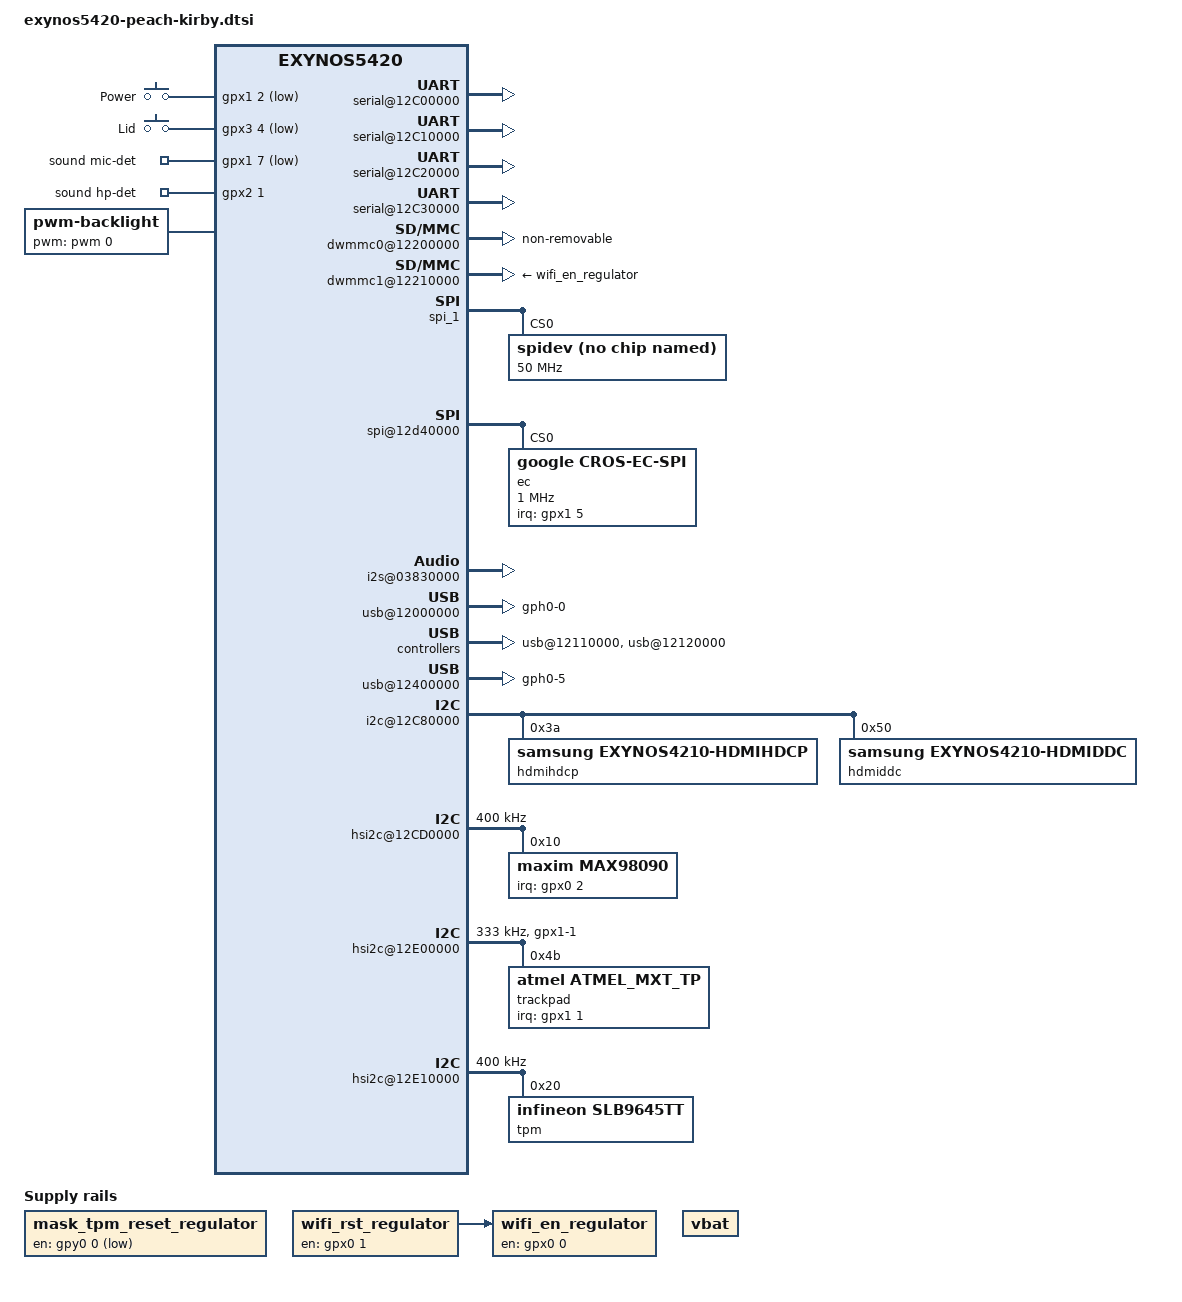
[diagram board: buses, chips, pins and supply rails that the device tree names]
/*
 * Common device tree include for all Peach Pit board revisions
 *
 * Copyright (c) 2013 Google, Inc
 *
 * This program is free software; you can redistribute it and/or modify
 * it under the terms of the GNU General Public License version 2 as
 * published by the Free Software Foundation.
 */

/ {
	aliases {
		i2c20 = &i2c_20;
	};

	chosen {
		bootargs = "";
	};

	firmware {
		chromeos {
			write-protect-gpio = <&gpx3 0 1>;

			pinctrl-names = "default";
			pinctrl-0 = <&wp_gpio>;

			nonvolatile-context-storage = "mkbp";
			chromeos-vbc-ec = <&ec>;
		};
	};

	fixed-rate-clocks {
		xxti {
			compatible = "samsung,clock-xxti";
			clock-frequency = <24000000>;
		};
	};

	pinctrl@13400000 {
		dp_hpd: dp-hpd {
			samsung,pins = "gpx2-6";
			samsung,pin-function = <0>;
			samsung,pin-pud = <3>;
			samsung,pin-drv = <0>;
		};

		ec_irq: ec-irq {
			samsung,pins = "gpx1-5";
			samsung,pin-function = <0>;
			samsung,pin-pud = <0>;
			samsung,pin-drv = <0>;
		};

		hp_det_gpio: hp-det-gpio {
			samsung,pins = "gpx2-1";
			samsung,pin-function = <0>;
			samsung,pin-pud = <0>;
			samsung,pin-drv = <0>;
		};

		hsic_reset: hsic-reset {
			samsung,pins = "gpx2-4";
			samsung,pin-function = <1>;
			samsung,pin-pud = <0>;
			samsung,pin-drv = <0>;
		};

		lid_irq: lid-irq {
			samsung,pins = "gpx3-4";
			samsung,pin-function = <0>;
			samsung,pin-pud = <0>;
			samsung,pin-drv = <0>;
		};

		max77802_irq: max77802-irq {
			samsung,pins = "gpx3-1";
			samsung,pin-function = <0>;
			samsung,pin-pud = <0>;
			samsung,pin-drv = <0>;
		};

		max98090_irq: max98090-irq {
			samsung,pins = "gpx0-2";
			samsung,pin-function = <0>;
			samsung,pin-pud = <0>;
			samsung,pin-drv = <0>;
		};

		mic_det_gpio: mic-det-gpio {
			samsung,pins = "gpx1-7";
			samsung,pin-function = <0>;
			samsung,pin-pud = <0>;
			samsung,pin-drv = <0>;
		};

		power_key_irq: power-key-irq {
			samsung,pins = "gpx1-2";
			samsung,pin-function = <0>;
			samsung,pin-pud = <0>;
			samsung,pin-drv = <0>;
		};

		ps8622_reset: ps8622-reset {
			samsung,pins = "gpy7-7";
			samsung,pin-function = <1>;
			samsung,pin-pud = <0>;
			samsung,pin-drv = <0>;
		};

		ps8622_sleep: ps8622-sleep {
			samsung,pins = "gpx3-5";
			samsung,pin-function = <1>;
			samsung,pin-pud = <0>;
			samsung,pin-drv = <0>;
		};

		tpm_irq: tpm-irq {
			samsung,pins = "gpx1-0";
			samsung,pin-function = <0>;
			samsung,pin-pud = <0>;
			samsung,pin-drv = <0>;
		};

		bq24192_irq: bq24192-irq {
			samsung,pins = "gpx2-5";
			samsung,pin-function = <0>;
			samsung,pin-pud = <0>;
			samsung,pin-drv = <0>;
		};

		trackpad_irq: trackpad-irq {
			samsung,pins = "gpx1-1";
			samsung,pin-function = <0>;
			samsung,pin-pud = <0>;
			samsung,pin-drv = <0>;
		};

		wifi_en: wifi-en {
			samsung,pins = "gpx0-0";
			samsung,pin-function = <1>;
			samsung,pin-pud = <0>;
			samsung,pin-drv = <0>;
		};

		wifi_rst: wifi-rst {
			samsung,pins = "gpx0-1";
			samsung,pin-function = <1>;
			samsung,pin-pud = <0>;
			samsung,pin-drv = <0>;
		};

		wp_gpio: wp-gpio {
			samsung,pins = "gpx3-0";
			samsung,pin-function = <0>;
			samsung,pin-pud = <0>;
			samsung,pin-drv = <0>;
		};
	};

	pinctrl@13410000 {
		/* Adjust WiFi drive strengths lower for EMI */
		sd1_clk: sd1-clk {
			samsung,pin-drv = <0>;
		};
		sd1_cmd: sd1-cmd {
			samsung,pin-drv = <0>;
		};
		sd1_bus4: sd1-bus-width4 {
			samsung,pin-drv = <0>;
		};
		sd1_bus8: sd1-bus-width8 {
			samsung,pin-drv = <0>;
		};

		mask_tpm_reset: mask-tpm-reset {
			samsung,pins = "gpy0-0";
			samsung,pin-function = <1>;
			samsung,pin-pud = <0>;
			samsung,pin-drv = <0>;
		};
	};

	pinctrl@14010000 {
		ec_spi_cs: ec-spi-cs {
			samsung,pins = "gpb1-2";
			samsung,pin-function = <1>;
			samsung,pin-pud = <0>;
			samsung,pin-drv = <3>;
		};

		spi_flash_cs: spi-flash-cs {
			samsung,pins = "gpa2-5";
			samsung,pin-function = <1>;
			samsung,pin-pud = <0>;
			samsung,pin-drv = <3>;
		};

		usb3_vbus0_en: usb30vbus0-en {
			samsung,pins = "gph0-0";
			samsung,pin-function = <1>;
			samsung,pin-pud = <0>;
			samsung,pin-drv = <0>;
		};

		usb3_vbus1_en: usb30vbus1-en {
			samsung,pins = "gph0-5";
			samsung,pin-function = <1>;
			samsung,pin-pud = <0>;
			samsung,pin-drv = <0>;
		};

		backlight_pwm: backlight-pwm {
			samsung,pins = "gpb2-0";
			samsung,pin-function = <2>;
			samsung,pin-pud = <0>;
			samsung,pin-drv = <0>;
		};
	};

	gpio-keys {
		compatible = "gpio-keys";

		pinctrl-names = "default";
		pinctrl-0 = <&power_key_irq &lid_irq>;

		power {
			label = "Power";
			gpios = <&gpx1 2 1>;
			linux,code = <116>; /* KEY_POWER */
			gpio-key,wakeup;
		};

		lid-switch {
			label = "Lid";
			gpios = <&gpx3 4 1>;
			linux,input-type = <5>; /* EV_SW */
			linux,code = <0>; /* SW_LID */
			debounce-interval = <1>;
			gpio-key,wakeup;
		};
	};

	ramoops {
		compatible = "ramoops";
		reg = <0x41f00000 0x00100000>;
		record-size = <0x00020000>;
		dump-oops;
	};

	watchdog {
		status = "okay";
	};

	rtc {
		status = "okay";
	};

	/* TODO: Should only enable UART3? */
	serial@12C00000 {
		status = "okay";
	};

	serial@12C10000 {
		status = "okay";
	};

	serial@12C20000 {
		status = "okay";
	};

	serial@12C30000 {
		status = "okay";
	};

	dwmmc0@12200000 {
		status = "okay";
		num-slots = <1>;
		broken-cd;
		bypass-smu;
		supports-highspeed;	/* >= 25MHz */
		supports-hs200-mode;	/* 200MHz */
		non-removable;
		fifo-depth = <0x40>;
		card-detect-delay = <200>;
		samsung,dw-mshc-ciu-div = <3>;
		samsung,dw-mshc-sdr-timing = <0 4>;
		samsung,dw-mshc-ddr-timing = <0 2>;
		pinctrl-names = "default";
		pinctrl-0 = <&sd0_clk &sd0_cmd &sd0_bus4 &sd0_bus8>;
		slot@0 {
			reg = <0>;
			bus-width = <8>;
		};
	};

	dwmmc1@12210000 {
		/*
		 * The current best way to ensure that reset/enable and clocks
		 * are available before we try to probe the WiFi card is through
		 * a chain of regulators.
		 */
		vmmc-supply = <&wifi_en_regulator>;

		status = "okay";
		num-slots = <1>;
		supports-highspeed;
		keep-power-in-suspend;
		/* not-removable NOT set so mwifiex driver can use reset trick */
		broken-cd;
		bypass-smu;
		fifo-depth = <0x40>;
		card-detect-delay = <200>;
		clock-frequency = <400000000>;
		samsung,dw-mshc-ciu-div = <3>;
		samsung,dw-mshc-sdr-timing = <4 4>;
		samsung,dw-mshc-ddr-timing = <0 2>;
		pinctrl-names = "default";
		pinctrl-0 = <&sd1_clk &sd1_cmd &sd1_int &sd1_bus4 &sd1_bus8>;
		slot@0 {
			reg = <0>;
			bus-width = <4>;
		};
	};

	/* TODO: Add fimd, display port, etc */

	spi_1: spi@12d30000 {
		status = "okay";
		samsung,spi-src-clk = <0>;
		num-cs = <1>;

		spidev@0 {
			compatible = "spidev";
			reg = <0>;
			spi-max-frequency = <50000000>;
			pinctrl-names = "default";
			pinctrl-0 = <&spi_flash_cs>;

			controller-data {
				cs-gpio = <&gpa2 5 0>;
				samsung,spi-feedback-delay = <2>;
			};
		};
	};

	/* spi_2 */
	spi@12d40000 {
		status = "okay";
		samsung,spi-src-clk = <0>;
		num-cs = <1>;
		ec: cros-ec@0 {
			compatible = "google,cros-ec-spi";

			/* TODO: Run faster than 1MHz */
			spi-max-frequency = <1000000>;

			pinctrl-names = "default";
			pinctrl-0 = <&ec_spi_cs &ec_irq>;

			reg = <0>;
			interrupts = <5 0>;
			interrupt-parent = <&gpx1>;

			controller-data {
				cs-gpio = <&gpb1 2 0>;

				/* TODO: feedback delay should be 2?*/
				samsung,spi-feedback-delay = <0>;
			};

			/* Arbitrarily assign bus 20 since past exynos range */
			i2c_20: i2c-tunnel {
				compatible = "google,cros-ec-i2c-tunnel";
				#address-cells = <1>;
				#size-cells = <0>;

				google,remote-bus = <0>;
			};

			keyboard-controller {
				compatible = "google,cros-ec-keyb";
				keypad,num-rows = <8>;
				keypad,num-columns = <13>;
				google,needs-ghost-filter;
				linux,keymap = <0x0001007d	/* L_META */
						0x0002003b	/* F1 */
						0x00030030	/* B */
						0x00040044	/* F10 */
						0x00060031	/* N */
						0x0008000d	/* = */
						0x000a0064	/* R_ALT */

						0x01010001	/* ESC */
						0x0102003e	/* F4 */
						0x01030022	/* G */
						0x01040041	/* F7 */
						0x01060023	/* H */
						0x01080028	/* ' */
						0x01090043	/* F9 */
						0x010b000e	/* BKSPACE */

						0x0200001d	/* L_CTRL */
						0x0201000f	/* TAB */
						0x0202003d	/* F3 */
						0x02030014	/* T */
						0x02040040	/* F6 */
						0x0205001b	/* ] */
						0x02060015	/* Y */
						0x02070056	/* 102ND */
						0x0208001a	/* [ */
						0x02090042	/* F8 */

						0x03010029	/* GRAVE */
						0x0302003c	/* F2 */
						0x03030006	/* 5 */
						0x0304003f	/* F5 */
						0x03060007	/* 6 */
						0x0308000c	/* - */
						0x030b002b	/* \ */

						0x04000061	/* R_CTRL */
						0x0401001e	/* A */
						0x04020020	/* D */
						0x04030021	/* F */
						0x0404001f	/* S */
						0x04050025	/* K */
						0x04060024	/* J */
						0x04080027	/* ; */
						0x04090026	/* L */
						0x040b001c	/* ENTER */

						0x0501002c	/* Z */
						0x0502002e	/* C */
						0x0503002f	/* V */
						0x0504002d	/* X */
						0x05050033	/* , */
						0x05060032	/* M */
						0x0507002a	/* L_SHIFT */
						0x05080035	/* / */
						0x05090034	/* . */
						0x050B0039	/* SPACE */

						0x06010002	/* 1 */
						0x06020004	/* 3 */
						0x06030005	/* 4 */
						0x06040003	/* 2 */
						0x06050009	/* 8 */
						0x06060008	/* 7 */
						0x0608000b	/* 0 */
						0x0609000a	/* 9 */
						0x060a0038	/* L_ALT */
						0x060b006c	/* DOWN */
						0x060c006a	/* RIGHT */

						0x07010010	/* Q */
						0x07020012	/* E */
						0x07030013	/* R */
						0x07040011	/* W */
						0x07050017	/* I */
						0x07060016	/* U */
						0x07070036	/* R_SHIFT */
						0x07080019	/* P */
						0x07090018	/* O */
						0x070b0067	/* UP */
						0x070c0069>;	/* LEFT */
			};
		};
	};

	/* i2s_0 */
	i2s@03830000 {
		status = "okay";
	};

	/* dw usb3_0 */
	usb@12000000 {
		status = "okay";
		samsung,vbus-gpio = <&gph0 0 0>;
		pinctrl-names = "default";
		pinctrl-0 = <&usb3_vbus0_en>;
	};

	/* ehci */
	usb@12110000 {
		status = "okay";
	};

	/* ohci */
	usb@12120000 {
		status = "okay";
	};

	/* dw usb3_1 */
	usb@12400000 {
		status = "okay";
		samsung,vbus-gpio = <&gph0 5 0>;
		pinctrl-names = "default";
		pinctrl-0 = <&usb3_vbus1_en>;
	};

	usb3_phy0: usbphy@12100000 {
		samsung,txpreempamptune = <0x1>;
	};

	usb3_phy1: usbphy@12500000 {
		samsung,txpreempamptune = <0x1>;
	};

	/* i2c2 */
	i2c@12C80000 {
		status = "okay";
		samsung,i2c-sda-delay = <100>;
		samsung,i2c-max-bus-freq = <66000>;

		hdmihdcp@3a {
			compatible = "samsung,exynos4210-hdmihdcp";
			reg = <0x3a>;
		};

		hdmiddc@50 {
			compatible = "samsung,exynos4210-hdmiddc";
			reg = <0x50>;
		};
	};

	/* hsi2c7 */
	hsi2c@12CD0000 {
		status = "okay";
		clock-frequency = <400000>;

		max98090: codec@10 {
			compatible = "maxim,max98090";
			reg = <0x10>;
			interrupts = <2 0>;
			interrupt-parent = <&gpx0>;
			mic-left-digital;
			mic-right-digital;
			mclk-pin = <2>;
			pinctrl-names = "default";
			pinctrl-0 = <&max98090_irq>;
		};
	};

	/* hsi2c8 */
	hsi2c@12E00000 {
		status = "okay";
		clock-frequency = <333000>;

		/*
		 * TODO: for now config the IRQ at the i2c level since
		 * pinctrl can't handle sharing it between two children, even
		 * if one fails to probe.
		 * See crosbug.com/p/20329
		 */
		pinctrl-names = "default";
		pinctrl-0 = <&i2c8_hs_bus &trackpad_irq>;

		/* Only one of the following trackpads should be probed */
		trackpad@4b {
			reg = <0x4b>;
			compatible = "atmel,atmel_mxt_tp";
			interrupts = <1 0>;
			interrupt-parent = <&gpx1>;
			wakeup-source;
		};
	};

	/* hsi2c9 */
	hsi2c@12E10000 {
		status = "okay";
		clock-frequency = <400000>;

		tpm@20 {
			/* Unused irq; but still need to configure the pins */
			pinctrl-names = "default";
			pinctrl-0 = <&tpm_irq>;

			compatible = "infineon,slb9645tt";
			reg = <0x20>;
		};
	};

	sound {
		compatible = "google,daisy-audio-max98090";
		samsung,i2s-controller = <&i2s_0>;
		samsung,audio-codec = <&max98090>;
		samsung,mic-det-gpios = <&gpx1 7 1>;
		samsung,hp-det-gpios = <&gpx2 1 0>;
		clocks = <&clock 3>, <&clock 4>, <&clock 1025>,
			<&clock 148>, <&clock_audss EXYNOS_MOUT_AUDSS>,
			<&clock_audss EXYNOS_MOUT_I2S>;
		clock-names = "fout_epll", "sclk_epll", "mout_audio0",
			"sclk_audio0", "mout_audss", "mout_i2s";
		pinctrl-names = "default";
		pinctrl-0 = <&mic_det_gpio &hp_det_gpio>;
	};

	/* We need GPY0_0 to be low at sleep time; just keep it low always */
	mask_tpm_reset_regulator: mask-tpm-reset-regulator {
		compatible = "regulator-fixed";
		regulator-name = "mask-tpm-reset";
		gpio = <&gpy0 0 0>;
		enable-active-low;
		regulator-boot-on;
		regulator-always-on;
		pinctrl-names = "default";
		pinctrl-0 = <&mask_tpm_reset>;
	};

	/* Chain regulators to ensure proper Wifi turn on sequence */
	wifi_rst_regulator: wifi-rst-regulator {
		compatible = "regulator-fixed";
		regulator-name = "wifi-rst-l";
		gpio = <&gpx0 1 0>;
		enable-active-high;
		startup-delay-us = <1500>;
		pinctrl-names = "default";
		pinctrl-0 = <&wifi_rst>;

		/*
		 * Technically we should have a vin-supply of the 32k clock.
		 * ...but that causes a deferred probe of this regulator
		 * despite the fact that we don't need to enable it until
		 * much later.  Skip the dependency since we know that the
		 * 32k clock will always be kept on from early boot.
		 *
		 * vin-supply = <&en32khz_cp>;
		 */
	};

	wifi_en_regulator: wifi-en-regulator {
		compatible = "regulator-fixed";
		regulator-name = "wifi-en";
		gpio = <&gpx0 0 0>;
		enable-active-high;
		pinctrl-names = "default";
		pinctrl-0 = <&wifi_en>;
		vin-supply = <&wifi_rst_regulator>;
	};

	vbat: fixed-regulator {
		compatible = "regulator-fixed";
		regulator-name = "vbat-supply";
		regulator-boot-on;
		regulator-always-on;
	};

	backlight {
		compatible = "pwm-backlight";
		pwms = <&pwm 0 1000000 0>;
		max-brightness = <2800>;
		default-brightness-level = <2800>;
		pinctrl-0 = <&backlight_pwm>;
		pinctrl-names = "default";
	};

	pinctrl@13400000 {
		gpy7: gpy7 {
			powerdown-settings = <3 3 3 3 3 3 6 2>;
		};
	};
	pinctrl@13410000 {
		gpc0: gpc0 {
			powerdown-settings = <6 3 5 3 3 3 3 3>;
		};
		gpc1: gpc1 {
			powerdown-settings = <6 2 3 2 2 2 2 3>;
		};
		gpc2: gpc2 {
			powerdown-settings = <6 2 2 2 2 2 2>;
		};
		gpc3: gpc3 {
			powerdown-settings = <3 3 3 3>;
		};
		gpc4: gpc4 {
			powerdown-settings = <2 3>;
		};
		gpd1: gpd1 {
			powerdown-settings = <2 6 6 6 2 2 2 2>;
		};
		gpy0: gpy0 {
			powerdown-settings = <3 2 2 2 2 2>;
		};
		gpy1: gpy1 {
			powerdown-settings = <2 2 2 2>;
		};
		gpy2: gpy2 {
			powerdown-settings = <2 2 2 2 2 2>;
		};
		gpy3: gpy3 {
			powerdown-settings = <3 3 3 3 3 3 3 3>;
		};
		gpy4: gpy4 {
			powerdown-settings = <3 3 3 3 3 3 3 3>;
		};
		gpy5: gpy5 {
			powerdown-settings = <3 3 3 3 3 3 3 3>;
		};
		gpy6: gpy6 {
			powerdown-settings = <3 3 3 3 3 3 3 3>;
		};
	};
	pinctrl@14000000 {
		gpe0: gpe0 {
			powerdown-settings = <3 3 3 3 3 3 3 3>;
		};
		gpe1: gpe1 {
			powerdown-settings = <3 3>;
		};
		gpf0: gpf0 {
			powerdown-settings = <3 3 3 3 3 3>;
		};
		gpf1: gpf1 {
			powerdown-settings = <3 3 3 3 3 3 3 3>;
		};
		gpg0: gpg0 {
			powerdown-settings = <3 3 3 3 3 3 3 3>;
		};
		gpg1: gpg1 {
			powerdown-settings = <3 3 3 3 3 3 3 3>;
		};
		gpg2: gpg2 {
			powerdown-settings = <3 1>;
		};
		gpj4: gpj4 {
			powerdown-settings = <3 3 6 6>;
		};
	};
	pinctrl@14010000 {
		gpa0: gpa0 {
			powerdown-settings = <3 3 3 3 3 3 2 2>;
		};
		gpa1: gpa1 {
			powerdown-settings = <3 3 3 3 3 3>;
		};
		gpa2: gpa2 {
			powerdown-settings = <2 2 3 3 6 6 1 6>;
		};
		gpb0: gpb0 {
			powerdown-settings = <3 3 3 3 3>;
		};
		gpb1: gpb1 {
			powerdown-settings = <3 6 6 1 6>;
		};
		gpb2: gpb2 {
			powerdown-settings = <3 3 2 2>;
		};
		gpb3: gpb3 {
			powerdown-settings = <3 3 3 3 2 2 2 2>;
		};
		gpb4: gpb4 {
			powerdown-settings = <2 2>;
		};
		gph0: gph0 {
			powerdown-settings = <6 6 6 6 6 6 6 5>;
		};
	};
	pinctrl@03860000 {
		gpz: gpz {
			powerdown-settings = <6 3 6 3 1 3 3>;
		};
	};
};
